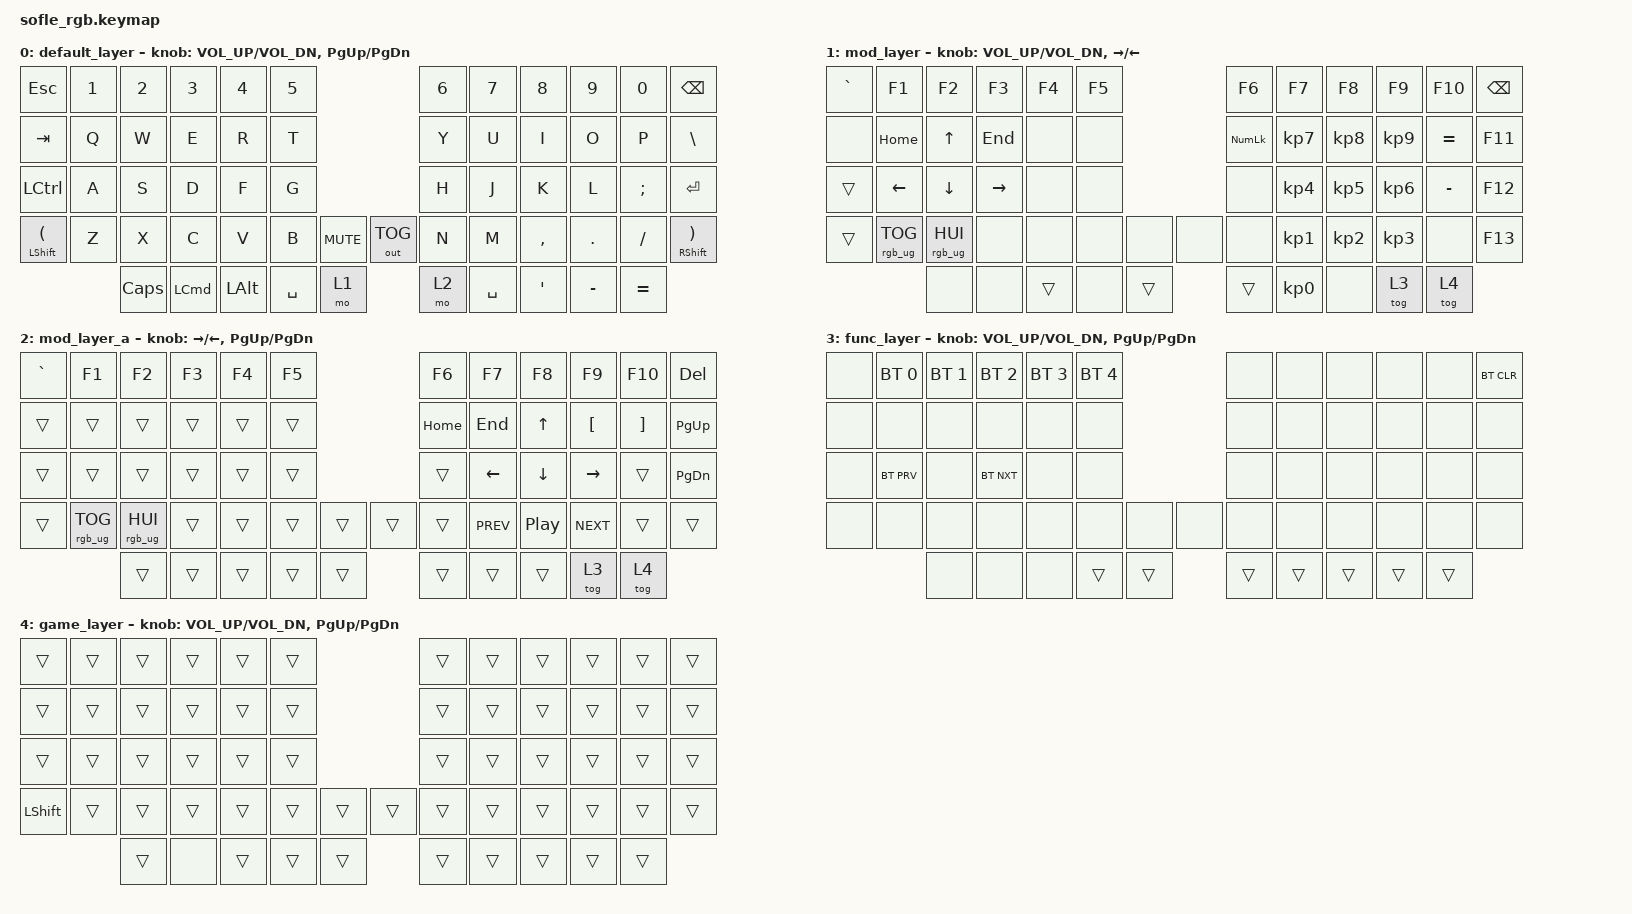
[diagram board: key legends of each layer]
#include <behaviors.dtsi>
#include <dt-bindings/zmk/keys.h>
#include <dt-bindings/zmk/bt.h>
#include <dt-bindings/zmk/outputs.h>
#include <dt-bindings/zmk/rgb.h>

/ {
  keymap {
    compatible = "zmk,keymap";

    default_layer {
      bindings = <
        &kp ESC          &kp N1   &kp N2    &kp N3    &kp N4   &kp N5                             &kp N6  &kp N7   &kp N8    &kp N9  &kp N0    &kp BACKSPACE
        &kp TAB          &kp Q    &kp W     &kp E     &kp R    &kp T                              &kp Y   &kp U    &kp I     &kp O   &kp P     &kp BACKSLASH
        &kp LCTRL        &kp A    &kp S     &kp D     &kp F    &kp G                              &kp H   &kp J    &kp K     &kp L   &kp SEMI  &kp RET
        &mt LSHIFT LPAR  &kp Z    &kp X     &kp C     &kp V    &kp B     &kp C_MUTE &out OUT_TOG  &kp N   &kp M    &kp COMMA &kp DOT &kp SLASH &mt RSHIFT RPAR
                                  &kp CAPS  &kp LCMD  &kp LALT &kp SPACE &mo 1      &mo 2         &kp SPACE &kp SINGLE_QUOTE &kp MINUS &kp EQUAL
      >;

      sensor-bindings = <&inc_dec_kp C_VOL_UP C_VOL_DN &inc_dec_kp PG_UP PG_DN>;
    };

    mod_layer {
      bindings = <
        &kp GRAVE &kp F1           &kp F2          &kp F3    &kp F4  &kp F5              &kp F6      &kp F7     &kp F8      &kp F9     &kp F10 &kp BACKSPACE
        &none     &kp HOME         &kp UP          &kp END   &none   &none               &kp KP_NUM  &kp KP_N7  &kp KP_N8   &kp KP_N9  &kp EQUAL   &kp F11
        &trans    &kp LEFT         &kp DOWN        &kp RIGHT &none   &none               &none       &kp KP_N4  &kp KP_N5   &kp KP_N6  &kp MINUS   &kp F12
        &trans    &rgb_ug RGB_TOG  &rgb_ug RGB_HUI &none     &none   &none &none  &none  &none       &kp KP_N1  &kp KP_N2   &kp KP_N3  &none   &kp F13
                                   &none           &none     &trans  &none &trans &trans &kp KP_N0   &none      &tog 3      &tog 4
      >;

      sensor-bindings = <&inc_dec_kp C_VOL_UP C_VOL_DN &inc_dec_kp RIGHT LEFT>;
    };
	
	mod_layer_a {
      bindings = <
        &kp GRAVE &kp F1           &kp F2           &kp F3 &kp F4 &kp F5                &kp F6   &kp F7     &kp F8    &kp F9      &kp F10  &kp DELETE
        &trans    &trans           &trans           &trans &trans &trans                &kp HOME &kp END    &kp UP    &kp LBKT    &kp RBKT &kp PG_UP
        &trans    &trans           &trans           &trans &trans &trans                &trans   &kp LEFT   &kp DOWN  &kp RIGHT   &trans   &kp PG_DN
        &trans    &rgb_ug RGB_TOG  &rgb_ug RGB_HUI  &trans &trans &trans &trans  &trans &trans   &kp C_PREV &kp C_PP  &kp C_NEXT  &trans   &trans
                                   &trans           &trans &trans &trans &trans  &trans &trans   &trans     &tog 3    &tog 4
      >;

      sensor-bindings = <&inc_dec_kp RIGHT LEFT &inc_dec_kp PG_UP PG_DN>;
    };

    func_layer {
      bindings = <
        &none &bt BT_SEL 0 &bt BT_SEL 1     &bt BT_SEL 2 &bt BT_SEL 3 &bt BT_SEL 4               &none  &none  &none  &none  &none &bt BT_CLR
        &none &none        &none            &none        &none        &none                      &none  &none  &none  &none  &none &none
        &none &bt BT_PRV   &none            &bt BT_NXT   &none        &none                      &none  &none  &none  &none  &none &none
        &none &none        &none            &none        &none        &none        &none  &none  &none  &none  &none  &none  &none &none
                           &none            &none        &none        &trans       &trans &trans &trans &trans &trans &trans
      >;

      sensor-bindings = <&inc_dec_kp C_VOL_UP C_VOL_DN &inc_dec_kp PG_UP PG_DN>;
    };

    game_layer {
      bindings = <
        &trans     &trans &trans &trans &trans &trans                &trans &trans &trans &trans &trans &trans
        &trans     &trans &trans &trans &trans &trans                &trans &trans &trans &trans &trans &trans
        &trans     &trans &trans &trans &trans &trans                &trans &trans &trans &trans &trans &trans
        &kp LSHIFT &trans &trans &trans &trans &trans &trans  &trans &trans &trans &trans &trans &trans &trans
                          &trans &none  &trans &trans &trans  &trans &trans &trans &trans &trans
      >;

      sensor-bindings = <&inc_dec_kp C_VOL_UP C_VOL_DN &inc_dec_kp PG_UP PG_DN>;
    };

  };
};

// layer sample
//         &none &none &none &none &none &none             &none &none &none &none &none &none
//         &none &none &none &none &none &none             &none &none &none &none &none &none
//         &none &none &none &none &none &none             &none &none &none &none &none &none
//         &none &none &none &none &none &none &none &none &none &none &none &none &none &none
//                     &none &none &none &none &none &none &none &none &none &none
// mod sample
//        &trans     &trans &trans &trans &trans &trans                &trans &trans &trans &trans &trans &trans
//        &trans     &trans &trans &trans &trans &trans                &trans &trans &trans &trans &trans &trans
//        &trans     &trans &trans &trans &trans &trans                &trans &trans &trans &trans &trans &trans
//        &kp LSHIFT &trans &trans &trans &trans &trans &trans  &trans &trans &trans &trans &trans &trans &trans
//                          &trans &trans &trans &trans &trans  &trans &trans &trans &trans &trans
